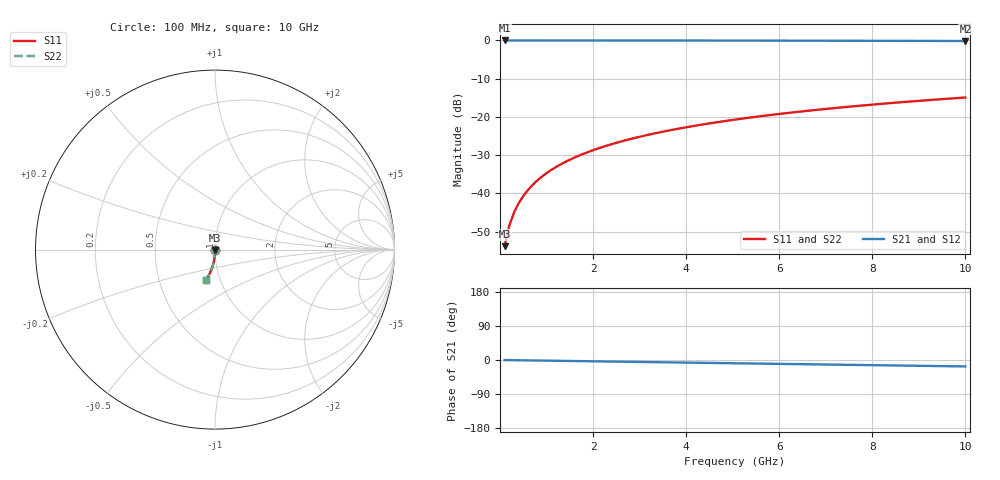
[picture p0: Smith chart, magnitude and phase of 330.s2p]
# Hz S RI R 50.00
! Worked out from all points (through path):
!   100 points, 100 MHz to 10 GHz, reference 50 ohm
!   highest |S21| = -0.01 dB at 100 MHz (marker M1); lowest = -0.2 dB at 10 GHz (marker M2)
!   group delay of S21, straight-line fit = 4.72 ps
!   lowest |S11| = -53.8 dB at 100 MHz (marker M3), VSWR 1.00, Z = 50.1 - j0.184 ohm
!   |S11| at or under -10 dB: start of sweep to end of sweep
!   |S22| runs from -53.8 to -14.9 dB; largest |S21 - S12| = 0
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1e8  0.000891 -0.00184  0.9991 -0.00299  0.9991 -0.00299  0.000891 -0.00184
2e8  0.000879 -0.00368  0.9991 -0.00597  0.9991 -0.00597  0.000879 -0.00368
3e8  0.000853 -0.00552  0.999 -0.00896  0.999 -0.00896  0.000853 -0.00552
4e8  0.000816 -0.00736  0.999 -0.0119  0.999 -0.0119  0.000816 -0.00736
5e8  0.000768 -0.0092  0.9989 -0.0149  0.9989 -0.0149  0.000768 -0.0092
6e8  0.000708 -0.011  0.9988 -0.0179  0.9988 -0.0179  0.000708 -0.011
7e8  0.000637 -0.0129  0.9988 -0.0209  0.9988 -0.0209  0.000637 -0.0129
8e8  0.000554 -0.0147  0.9987 -0.0239  0.9987 -0.0239  0.000554 -0.0147
9e8  0.000461 -0.0165  0.9986 -0.0269  0.9986 -0.0269  0.000461 -0.0165
1.1e9  0.000241 -0.0202  0.9983 -0.0328  0.9983 -0.0328  0.000241 -0.0202
1.4e9  -0.000172 -0.0257  0.9978 -0.0418  0.9978 -0.0418  -0.000172 -0.0257
1.8e9  -0.000876 -0.033  0.997 -0.0537  0.997 -0.0537  -0.000876 -0.033
2.1e9  -0.00152 -0.0385  0.9963 -0.0626  0.9963 -0.0626  -0.00152 -0.0385
2.5e9  -0.00253 -0.0458  0.9952 -0.0744  0.9952 -0.0744  -0.00253 -0.0458
2.9e9  -0.00371 -0.053  0.9938 -0.0863  0.9938 -0.0863  -0.00371 -0.053
3.4e9  -0.00543 -0.0621  0.9919 -0.101  0.9919 -0.101  -0.00543 -0.0621
4.2e9  -0.00873 -0.0763  0.9882 -0.1245  0.9882 -0.1245  -0.00873 -0.0763
5.1e9  -0.0132 -0.0922  0.9831 -0.1506  0.9831 -0.1506  -0.0132 -0.0922
5.9e9  -0.018 -0.106  0.9778 -0.1736  0.9778 -0.1736  -0.018 -0.106
6.7e9  -0.0233 -0.1195  0.9717 -0.1964  0.9717 -0.1964  -0.0233 -0.1195
8.4e9  -0.0367 -0.1473  0.9566 -0.2437  0.9566 -0.2437  -0.0367 -0.1473
1e10  -0.0516 -0.1719  0.9397 -0.2867  0.9397 -0.2867  -0.0516 -0.1719
